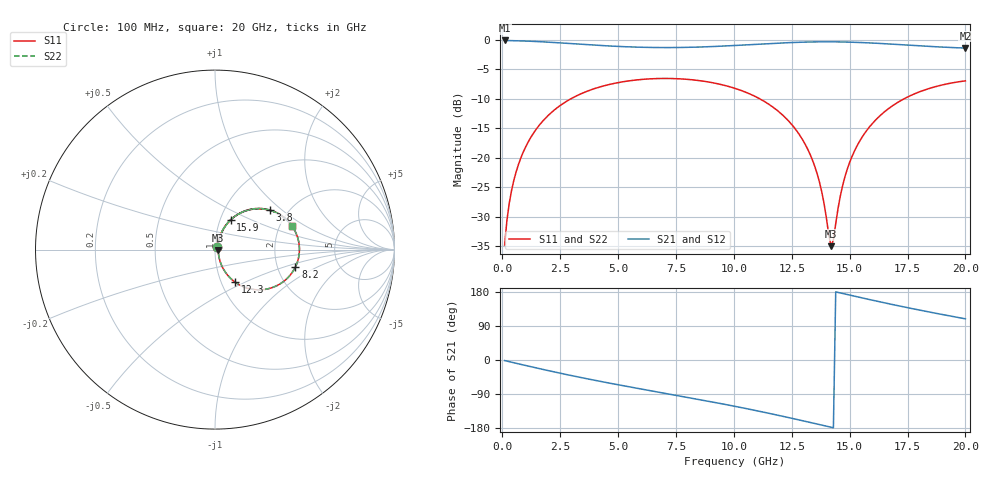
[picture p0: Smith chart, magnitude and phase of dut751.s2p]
! Touchstone file exported from HFSS 2026.1.0
!  File:  C:/ffzhzh/LocalFiles/Ansys_Project_Files/temp_train_TSV_RDL_751_1783206057_18472.aedt
!  Generated:  07:10:59 AM Jul  5, 2026
!  Design:  TSV_RDL
!  Project:  temp_train_TSV_RDL_751_1783206057_18472
! Variables:
!  h_bsmrdl = 4.33um
!  h_ox = 20um
!  h_rdl = 5um
!  h_sub = 97.96um
!  h_tmrdl = 4.71um
!  h_tsv = 97.96um
!  h_via = 3um
!  l_bsmrdl = 456.59um
!  l_sub = 4038.1um
!  l_tmrdl = 529.56um
!  m_sub = 200um
!  pitch = 55.57um
!  r_tsv = 12.05um
!  s_tmrdl = 10um
!  w_bsmrdl = 21.16um
!  w_sub = 500um
!  w_tmrdl = 28.87um
!  x_tsv_center1 = 543.995um
!  x_tsv_center2 = 1021.745um
!  x_tsv_center3 = 1580.175um
!  x_tsv_center4 = 2057.925um
!  x_tsv_center5 = 2616.355um
!  x_tsv_center6 = 3094.105um
# GHz S MA R 50.000000
! Terminal data exported
! Port[1] = TM_RDL1_1_T1
! Port[2] = TM_RDL5_1_T1
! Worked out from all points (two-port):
!   200 points, 100 MHz to 20 GHz, reference 50 ohm
!   highest |S21| = -0.11 dB at 100 MHz (marker M1); lowest = -1.4 dB at 20 GHz (marker M2)
!   |S21| within 3 dB of the highest: start of sweep to end of sweep
!   lowest |S11| = -35.0 dB at 14.2 GHz (marker M3), VSWR 1.04, Z = 51.8 - j0.166 ohm
!   |S11| at or under -10 dB: start of sweep to 2.963 GHz; 11.12 GHz to 17.35 GHz (6.236 GHz wide, 43.8 % of centre)
!   |S22| runs from -34.9 to -6.6 dB; largest |S21 - S12| = 2e-15
!   S11 on the Smith chart (normalised r, x): 100 MHz: 1.03, +0.03; 3.8 GHz: 1.62, +0.82; 8.2 GHz: 2.51, -0.62; 12.3 GHz: 1.16, -0.44; 15.9 GHz: 1.12, +0.38; 20 GHz: 2.33, +0.76
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0.1  0.01818 46.3  0.9877 -1.5  0.9877 -1.5  0.01818 46.3
! Gamma 0 0 0 0
! Port Impedance 50 0 50 0
0.3  0.04112 65.9  0.9854 -4.4  0.9854 -4.4  0.04112 65.9
0.5  0.06451 69.4  0.9833 -7.3  0.9833 -7.3  0.06451 69.4
1.1  0.134 67.3  0.9749 -15.8  0.9749 -15.8  0.134 67.3
2.1  0.2401 56.2  0.9527 -29.6  0.9527 -29.6  0.2401 56.2
3.5  0.3557 39.3  0.9141 -47.6  0.9141 -47.6  0.3557 39.3
3.8  0.375 35.7  0.9061 -51.2  0.9061 -51.2  0.375 35.7
6.8  0.47 2.7  0.8599 -85.4  0.8599 -85.4  0.47 2.7
8.2  0.4583 -12.2  0.8652 -100.9  0.8652 -100.9  0.4583 -12.2
10.1  0.3848 -33.2  0.8965 -122.9  0.8965 -122.9  0.3848 -33.2
12.3  0.2114 -58.5  0.9449 -151.1  0.9449 -151.1  0.2114 -58.5
13.4  0.09507 -67.4  0.9596 -166.2  0.9596 -166.2  0.09511 -67.3
13.8  0.0511 -63.3  0.9616 -171.8  0.9616 -171.8  0.05118 -63.1
14.2  0.0178 -5.2  0.9617 -177.5  0.9617 -177.5  0.01803 -5.1
14.3  0.02016 28.1  0.9614 -178.9  0.9614 -178.9  0.02036 27.8
14.6  0.04755 63.5  0.9597 176.9  0.9597 176.9  0.04764 63.3
14.9  0.08021 68.5  0.957 172.7  0.957 172.7  0.08026 68.4
15.3  0.1239 67.6  0.9517 167.2  0.9517 167.2  0.124 67.6
15.9  0.1869 62.4  0.9409 159.0  0.9409 159.0  0.1869 62.4
16.7  0.2627 53.6  0.9226 148.3  0.9226 148.3  0.2628 53.6
18.3  0.3792 35.3  0.8827 128.3  0.8827 128.3  0.3792 35.3
20  0.4488 16.8  0.8516 108.7  0.8516 108.7  0.4488 16.8
